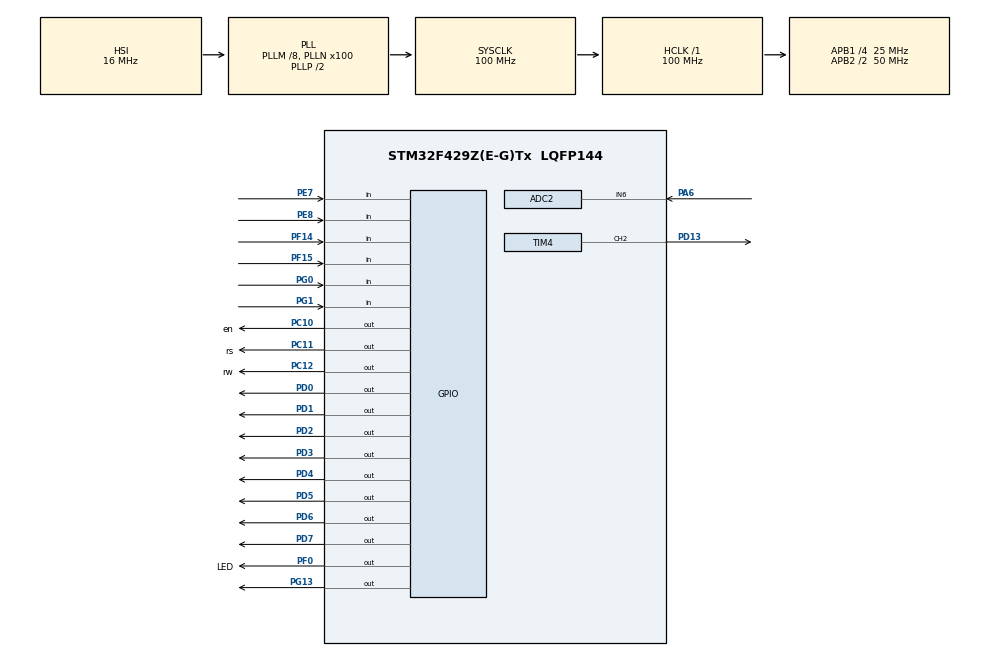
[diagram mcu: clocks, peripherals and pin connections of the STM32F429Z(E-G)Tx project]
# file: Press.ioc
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ADC2.Channel-0\#ChannelRegularConversion=ADC_CHANNEL_6
ADC2.Channel-IN6=ADC_CHANNEL_6
ADC2.ClockPrescaler=ADC_CLOCK_SYNC_PCLK_DIV4
ADC2.ContinuousConvMode=DISABLE
ADC2.DMAContinuousRequests=DISABLE
ADC2.DataAlign=ADC_DATAALIGN_RIGHT
ADC2.DiscontinuousConvMode=DISABLE
ADC2.EOCSelection=ADC_EOC_SINGLE_CONV
ADC2.EnableAnalogWatchDog=false
ADC2.ExternalTrigConv=ADC_SOFTWARE_START
ADC2.ExternalTrigConvEdge=ADC_EXTERNALTRIGCONVEDGE_NONE
ADC2.InjNumberOfConversion=0
ADC2.Mode=__NULL
ADC2.NbrOfConversion=1
ADC2.Rank-0\#ChannelRegularConversion=1
ADC2.Resolution=ADC_RESOLUTION_12B
ADC2.SamplingTime-0\#ChannelRegularConversion=ADC_SAMPLETIME_3CYCLES
ADC2.ScanConvMode=DISABLE
Mcu.Family=STM32F4
Mcu.Name=STM32F429Z(E-G)Tx
Mcu.Package=LQFP144
NVIC.ADC_IRQn=true\:0\:0\:false\:false\:true\:true\:true
NVIC.PriorityGroup=NVIC_PRIORITYGROUP_4
PA13.Mode=Trace_Asynchronous_SW
PA13.Signal=SYS_JTMS-SWDIO
PA14.Mode=Trace_Asynchronous_SW
PA14.Signal=SYS_JTCK-SWCLK
PA6.Signal=ADCx_IN6
PB3.Mode=Trace_Asynchronous_SW
PB3.Signal=SYS_JTDO-SWO
PC10.GPIO_Label=en
PC10.Signal=GPIO_Output
PC11.GPIO_Label=rs
PC11.Signal=GPIO_Output
PC12.GPIO_Label=rw
PC12.Signal=GPIO_Output
PD0.Signal=GPIO_Output
PD1.Signal=GPIO_Output
PD13.Signal=S_TIM4_CH2
PD2.Signal=GPIO_Output
PD3.Signal=GPIO_Output
PD4.Signal=GPIO_Output
PD5.Signal=GPIO_Output
PD6.Signal=GPIO_Output
PD7.Signal=GPIO_Output
PE7.Signal=GPIO_Input
PE8.Signal=GPIO_Input
PF0.GPIO_Label=LED
PF0.Signal=GPIO_Output
PF14.Signal=GPIO_Input
PF15.Signal=GPIO_Input
PG0.Signal=GPIO_Input
PG1.Signal=GPIO_Input
PG13.Signal=GPIO_Output
PH0/OSC_IN.Mode=HSE-External-Oscillator
PH0/OSC_IN.Signal=RCC_OSC_IN
PH1/OSC_OUT.Mode=HSE-External-Oscillator
PH1/OSC_OUT.Signal=RCC_OSC_OUT
ProjectManager.HeapSize=0x200
ProjectManager.StackSize=0x400
ProjectManager.TargetToolchain=EWARM V8
RCC.48MHZClocksFreq_Value=50000000
RCC.AHBFreq_Value=100000000
RCC.APB1CLKDivider=RCC_HCLK_DIV4
RCC.APB1Freq_Value=25000000
RCC.APB1TimFreq_Value=50000000
RCC.APB2CLKDivider=RCC_HCLK_DIV2
RCC.APB2Freq_Value=50000000
RCC.APB2TimFreq_Value=100000000
RCC.CortexFreq_Value=100000000
RCC.FLatency=FLASH_LATENCY_3
RCC.HCLKFreq_Value=100000000
RCC.HSE_VALUE=25000000
RCC.HSI_VALUE=16000000
RCC.LSE_VALUE=32768
RCC.PLLM=8
RCC.PLLN=100
RCC.SYSCLKFreq_VALUE=100000000
RCC.SYSCLKSource=RCC_SYSCLKSOURCE_PLLCLK
RCC.VCOOutputFreq_Value=200000000
SH.ADCx_IN6.0=ADC2_IN6,IN6
SH.S_TIM4_CH2.0=TIM4_CH2,PWM Generation2 CH2
TIM4.AutoReloadPreload=TIM_AUTORELOAD_PRELOAD_DISABLE
TIM4.Channel-PWM\ Generation2\ CH2=TIM_CHANNEL_2
TIM4.ClockDivision=TIM_CLOCKDIVISION_DIV1
TIM4.CounterMode=TIM_COUNTERMODE_UP
TIM4.OCFastMode_PWM-PWM\ Generation2\ CH2=TIM_OCFAST_DISABLE
TIM4.OCMode_PWM-PWM\ Generation2\ CH2=TIM_OCMODE_PWM1
TIM4.OCPolarity_2=TIM_OCPOLARITY_HIGH
TIM4.Period=0xFFFF
TIM4.Prescaler=7
TIM4.Pulse-PWM\ Generation2\ CH2=0
TIM4.TIM_MasterOutputTrigger=TIM_TRGO_RESET
TIM4.TIM_MasterSlaveMode=TIM_MASTERSLAVEMODE_DISABLE
board=custom

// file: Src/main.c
/* USER CODE BEGIN Header */
/**
******************************************************************************
* @file           : main.c
* @brief          : Main program body
******************************************************************************
** This notice applies to any and all portions of this file
* that are not between comment pairs USER CODE BEGIN and
* USER CODE END. Other portions of this file, whether
* inserted by the user or by software development tools
* are owned by their respective copyright owners.
*
* COPYRIGHT(c) 2019 STMicroelectronics
*
* Redistribution and use in source and binary forms, with or without modification,
* are permitted provided that the following conditions are met:
*   1. Redistributions of source code must retain the above copyright notice,
*      this list of conditions and the following disclaimer.
*   2. Redistributions in binary form must reproduce the above copyright notice,
*      this list of conditions and the following disclaimer in the documentation
*      and/or other materials provided with the distribution.
*   3. Neither the name of STMicroelectronics nor the names of its contributors
*      may be used to endorse or promote products derived from this software
*      without specific prior written permission.
*
* THIS SOFTWARE IS PROVIDED BY THE COPYRIGHT HOLDERS AND CONTRIBUTORS "AS IS"
* AND ANY EXPRESS OR IMPLIED WARRANTIES, INCLUDING, BUT NOT LIMITED TO, THE
* IMPLIED WARRANTIES OF MERCHANTABILITY AND FITNESS FOR A PARTICULAR PURPOSE ARE
* DISCLAIMED. IN NO EVENT SHALL THE COPYRIGHT HOLDER OR CONTRIBUTORS BE LIABLE
* FOR ANY DIRECT, INDIRECT, INCIDENTAL, SPECIAL, EXEMPLARY, OR CONSEQUENTIAL
* DAMAGES (INCLUDING, BUT NOT LIMITED TO, PROCUREMENT OF SUBSTITUTE GOODS OR
* SERVICES; LOSS OF USE, DATA, OR PROFITS; OR BUSINESS INTERRUPTION) HOWEVER
* CAUSED AND ON ANY THEORY OF LIABILITY, WHETHER IN CONTRACT, STRICT LIABILITY,
* OR TORT (INCLUDING NEGLIGENCE OR OTHERWISE) ARISING IN ANY WAY OUT OF THE USE
* OF THIS SOFTWARE, EVEN IF ADVISED OF THE POSSIBILITY OF SUCH DAMAGE.
*
******************************************************************************
*/
/* USER CODE END Header */

#include "main.h"

/* USER CODE BEGIN Includes */
#include <math.h>
/* USER CODE END Includes */

ADC_HandleTypeDef hadc2;

TIM_HandleTypeDef htim4;

/* USER CODE BEGIN PV */
uint32_t tempValue = 0;
double tempK = 0;
double tempC = 0;
double tempF = 0;
double kp, ki, kd;
uint32_t currentTime, previousTime;
double elapsedTime;
double setPoint = 0;
double error, cumError, rateError, lastError;
unsigned char counter = 0;
unsigned int myPID = 0;
uint32_t finalAdc, beginAdc, adcTime;
double out;
/* USER CODE END PV */

void SystemClock_Config(void);
static void MX_GPIO_Init(void);
static void MX_ADC2_Init(void);
static void MX_TIM4_Init(void);
/* USER CODE BEGIN PFP */
int computePID(double inp);

/* USER CODE END PFP */

int main(void)
{

  /* MCU Configuration--------------------------------------------------------*/

  /* Reset of all peripherals, Initializes the Flash interface and the Systick. */
  HAL_Init();

  /* Configure the system clock */
  SystemClock_Config();

  /* Initialize all configured peripherals */
  MX_GPIO_Init();
  MX_ADC2_Init();
  MX_TIM4_Init();
  /* USER CODE BEGIN 2 */
  HAL_ADC_Start_IT(&hadc2);
  //Use PWM to control? or simple loop?
  kp = 5000;
  ki = 0;
  kd = 0;
  TIM4->CCR2 = 300;
  HAL_TIM_PWM_Start(&htim4, TIM_CHANNEL_2);

  /* USER CODE END 2 */

  /* Infinite loop */
  /* USER CODE BEGIN WHILE */
  while (1)
  {
    if(counter==0){
      myPID = computePID(tempC);
      TIM4->CCR2 = (int)myPID;
      HAL_Delay(200);
      //TIM4->CCR2 = 0;
      //HAL_Delay(200);
      HAL_GPIO_TogglePin(LED_GPIO_Port, LED_Pin);
      //HAL_Delay(100);
    }
    /* USER CODE END WHILE */

  }
}

void SystemClock_Config(void)
{
  RCC_OscInitTypeDef RCC_OscInitStruct = {0};
  RCC_ClkInitTypeDef RCC_ClkInitStruct = {0};

  /** Configure the main internal regulator output voltage
  */
  __HAL_RCC_PWR_CLK_ENABLE();
  __HAL_PWR_VOLTAGESCALING_CONFIG(PWR_REGULATOR_VOLTAGE_SCALE3);
  /** Initializes the CPU, AHB and APB busses clocks
  */
  RCC_OscInitStruct.OscillatorType = RCC_OSCILLATORTYPE_HSI;
  RCC_OscInitStruct.HSIState = RCC_HSI_ON;
  RCC_OscInitStruct.HSICalibrationValue = RCC_HSICALIBRATION_DEFAULT;
  RCC_OscInitStruct.PLL.PLLState = RCC_PLL_ON;
  RCC_OscInitStruct.PLL.PLLSource = RCC_PLLSOURCE_HSI;
  RCC_OscInitStruct.PLL.PLLM = 8;
  RCC_OscInitStruct.PLL.PLLN = 100;
  RCC_OscInitStruct.PLL.PLLP = RCC_PLLP_DIV2;
  RCC_OscInitStruct.PLL.PLLQ = 4;
  if (HAL_RCC_OscConfig(&RCC_OscInitStruct) != HAL_OK)
  {
    Error_Handler();
  }
  /** Initializes the CPU, AHB and APB busses clocks
  */
  RCC_ClkInitStruct.ClockType = RCC_CLOCKTYPE_HCLK|RCC_CLOCKTYPE_SYSCLK
    |RCC_CLOCKTYPE_PCLK1|RCC_CLOCKTYPE_PCLK2;
  RCC_ClkInitStruct.SYSCLKSource = RCC_SYSCLKSOURCE_PLLCLK;
  RCC_ClkInitStruct.AHBCLKDivider = RCC_SYSCLK_DIV1;
  RCC_ClkInitStruct.APB1CLKDivider = RCC_HCLK_DIV4;
  RCC_ClkInitStruct.APB2CLKDivider = RCC_HCLK_DIV2;

  if (HAL_RCC_ClockConfig(&RCC_ClkInitStruct, FLASH_LATENCY_3) != HAL_OK)
  {
    Error_Handler();
  }
}

static void MX_ADC2_Init(void)
{

  ADC_ChannelConfTypeDef sConfig = {0};

  /** Configure the global features of the ADC (Clock, Resolution, Data Alignment and number of conversion)
  */
  hadc2.Instance = ADC2;
  hadc2.Init.ClockPrescaler = ADC_CLOCK_SYNC_PCLK_DIV4;
  hadc2.Init.Resolution = ADC_RESOLUTION_12B;
  hadc2.Init.ScanConvMode = DISABLE;
  hadc2.Init.ContinuousConvMode = DISABLE;
  hadc2.Init.DiscontinuousConvMode = DISABLE;
  hadc2.Init.ExternalTrigConvEdge = ADC_EXTERNALTRIGCONVEDGE_NONE;
  hadc2.Init.ExternalTrigConv = ADC_SOFTWARE_START;
  hadc2.Init.DataAlign = ADC_DATAALIGN_RIGHT;
  hadc2.Init.NbrOfConversion = 1;
  hadc2.Init.DMAContinuousRequests = DISABLE;
  hadc2.Init.EOCSelection = ADC_EOC_SINGLE_CONV;
  if (HAL_ADC_Init(&hadc2) != HAL_OK)
  {
    Error_Handler();
  }
  /** Configure for the selected ADC regular channel its corresponding rank in the sequencer and its sample time.
  */
  sConfig.Channel = ADC_CHANNEL_6;
  sConfig.Rank = 1;
  sConfig.SamplingTime = ADC_SAMPLETIME_3CYCLES;
  if (HAL_ADC_ConfigChannel(&hadc2, &sConfig) != HAL_OK)
  {
    Error_Handler();
  }

}

static void MX_TIM4_Init(void)
{

  TIM_MasterConfigTypeDef sMasterConfig = {0};
  TIM_OC_InitTypeDef sConfigOC = {0};

  htim4.Instance = TIM4;
  htim4.Init.Prescaler = 7;
  htim4.Init.CounterMode = TIM_COUNTERMODE_UP;
  htim4.Init.Period = 0xFFFF;
  htim4.Init.ClockDivision = TIM_CLOCKDIVISION_DIV1;
  htim4.Init.AutoReloadPreload = TIM_AUTORELOAD_PRELOAD_DISABLE;
  if (HAL_TIM_PWM_Init(&htim4) != HAL_OK)
  {
    Error_Handler();
  }
  sMasterConfig.MasterOutputTrigger = TIM_TRGO_RESET;
  sMasterConfig.MasterSlaveMode = TIM_MASTERSLAVEMODE_DISABLE;
  if (HAL_TIMEx_MasterConfigSynchronization(&htim4, &sMasterConfig) != HAL_OK)
  {
    Error_Handler();
  }
  sConfigOC.OCMode = TIM_OCMODE_PWM1;
  sConfigOC.Pulse = 0;
  sConfigOC.OCPolarity = TIM_OCPOLARITY_HIGH;
  sConfigOC.OCFastMode = TIM_OCFAST_DISABLE;
  if (HAL_TIM_PWM_ConfigChannel(&htim4, &sConfigOC, TIM_CHANNEL_2) != HAL_OK)
  {
    Error_Handler();
  }
  HAL_TIM_MspPostInit(&htim4);

}

static void MX_GPIO_Init(void)
{
  GPIO_InitTypeDef GPIO_InitStruct = {0};

  /* GPIO Ports Clock Enable */
  __HAL_RCC_GPIOF_CLK_ENABLE();
  __HAL_RCC_GPIOH_CLK_ENABLE();
  __HAL_RCC_GPIOA_CLK_ENABLE();
  __HAL_RCC_GPIOG_CLK_ENABLE();
  __HAL_RCC_GPIOE_CLK_ENABLE();
  __HAL_RCC_GPIOD_CLK_ENABLE();
  __HAL_RCC_GPIOC_CLK_ENABLE();
  __HAL_RCC_GPIOB_CLK_ENABLE();

  /*Configure GPIO pin Output Level */
  HAL_GPIO_WritePin(LED_GPIO_Port, LED_Pin, GPIO_PIN_RESET);

  /*Configure GPIO pin Output Level */
  HAL_GPIO_WritePin(GPIOC, en_Pin|rs_Pin|rw_Pin, GPIO_PIN_RESET);

  /*Configure GPIO pin Output Level */
  HAL_GPIO_WritePin(GPIOD, GPIO_PIN_0|GPIO_PIN_1|GPIO_PIN_2|GPIO_PIN_3
                    |GPIO_PIN_4|GPIO_PIN_5|GPIO_PIN_6|GPIO_PIN_7, GPIO_PIN_RESET);

  /*Configure GPIO pin Output Level */
  HAL_GPIO_WritePin(GPIOG, GPIO_PIN_13, GPIO_PIN_RESET);

  /*Configure GPIO pin : LED_Pin */
  GPIO_InitStruct.Pin = LED_Pin;
  GPIO_InitStruct.Mode = GPIO_MODE_OUTPUT_PP;
  GPIO_InitStruct.Pull = GPIO_NOPULL;
  GPIO_InitStruct.Speed = GPIO_SPEED_FREQ_LOW;
  HAL_GPIO_Init(LED_GPIO_Port, &GPIO_InitStruct);

  /*Configure GPIO pins : PF14 PF15 */
  GPIO_InitStruct.Pin = GPIO_PIN_14|GPIO_PIN_15;
  GPIO_InitStruct.Mode = GPIO_MODE_INPUT;
  GPIO_InitStruct.Pull = GPIO_NOPULL;
  HAL_GPIO_Init(GPIOF, &GPIO_InitStruct);

  /*Configure GPIO pins : PG0 PG1 */
  GPIO_InitStruct.Pin = GPIO_PIN_0|GPIO_PIN_1;
  GPIO_InitStruct.Mode = GPIO_MODE_INPUT;
  GPIO_InitStruct.Pull = GPIO_NOPULL;
  HAL_GPIO_Init(GPIOG, &GPIO_InitStruct);

  /*Configure GPIO pins : PE7 PE8 */
  GPIO_InitStruct.Pin = GPIO_PIN_7|GPIO_PIN_8;
  GPIO_InitStruct.Mode = GPIO_MODE_INPUT;
  GPIO_InitStruct.Pull = GPIO_NOPULL;
  HAL_GPIO_Init(GPIOE, &GPIO_InitStruct);

  /*Configure GPIO pins : en_Pin rs_Pin rw_Pin */
  GPIO_InitStruct.Pin = en_Pin|rs_Pin|rw_Pin;
  GPIO_InitStruct.Mode = GPIO_MODE_OUTPUT_PP;
  GPIO_InitStruct.Pull = GPIO_NOPULL;
  GPIO_InitStruct.Speed = GPIO_SPEED_FREQ_LOW;
  HAL_GPIO_Init(GPIOC, &GPIO_InitStruct);

  /*Configure GPIO pins : PD0 PD1 PD2 PD3
  PD4 PD5 PD6 PD7 */
  GPIO_InitStruct.Pin = GPIO_PIN_0|GPIO_PIN_1|GPIO_PIN_2|GPIO_PIN_3
    |GPIO_PIN_4|GPIO_PIN_5|GPIO_PIN_6|GPIO_PIN_7;
  GPIO_InitStruct.Mode = GPIO_MODE_OUTPUT_PP;
  GPIO_InitStruct.Pull = GPIO_NOPULL;
  GPIO_InitStruct.Speed = GPIO_SPEED_FREQ_LOW;
  HAL_GPIO_Init(GPIOD, &GPIO_InitStruct);

  /*Configure GPIO pin : PG13 */
  GPIO_InitStruct.Pin = GPIO_PIN_13;
  GPIO_InitStruct.Mode = GPIO_MODE_OUTPUT_PP;
  GPIO_InitStruct.Pull = GPIO_NOPULL;
  GPIO_InitStruct.Speed = GPIO_SPEED_FREQ_LOW;
  HAL_GPIO_Init(GPIOG, &GPIO_InitStruct);

}

/* USER CODE BEGIN 4 */

void HAL_ADC_ConvCpltCallback(ADC_HandleTypeDef* hadc){
  tempValue = HAL_ADC_GetValue(&hadc2);

  tempK = 1.0/((1.0/298.15)+((1.0/4388.0)*(log(((4095.0/(double)tempValue)-1.0)))));//B value equation to calculate temprature of thermistor
  tempC = tempK - 273.15; //K to C
  tempF = ((9.0*tempC)/5.0)+32.0; //C to F
  tempF = tempF+20;

  HAL_ADC_Start_IT(&hadc2);

}

int computePID(double inp){
  currentTime = HAL_GetTick();                //get current time
  elapsedTime = (double)(currentTime - previousTime);        //compute time elapsed from previous computation

  error = setPoint - inp;                                // determine error
  cumError += error * elapsedTime;                // compute integral
  rateError = (error - lastError)/elapsedTime;   // compute derivative
  if(cumError < -0x0FFF){
    cumError = -0x0FFF;                                      //Clamping
  }
  if(cumError > 0x0FFF){
    cumError = 0x0FFF;                                       //Clamping
  }

  out = kp*error + ki*cumError + kd*rateError;

  if(out < 0){
    out = 0;
  }
  if(out > 0xFFFF){
    out = 0xFFFF;
  }
  lastError = error;                                //remember current error
  previousTime = currentTime;                        //remember current time

  return (int)out;

}

/* USER CODE END 4 */

void Error_Handler(void)
{
}

/************************ (C) COPYRIGHT STMicroelectronics *****END OF FILE****/
